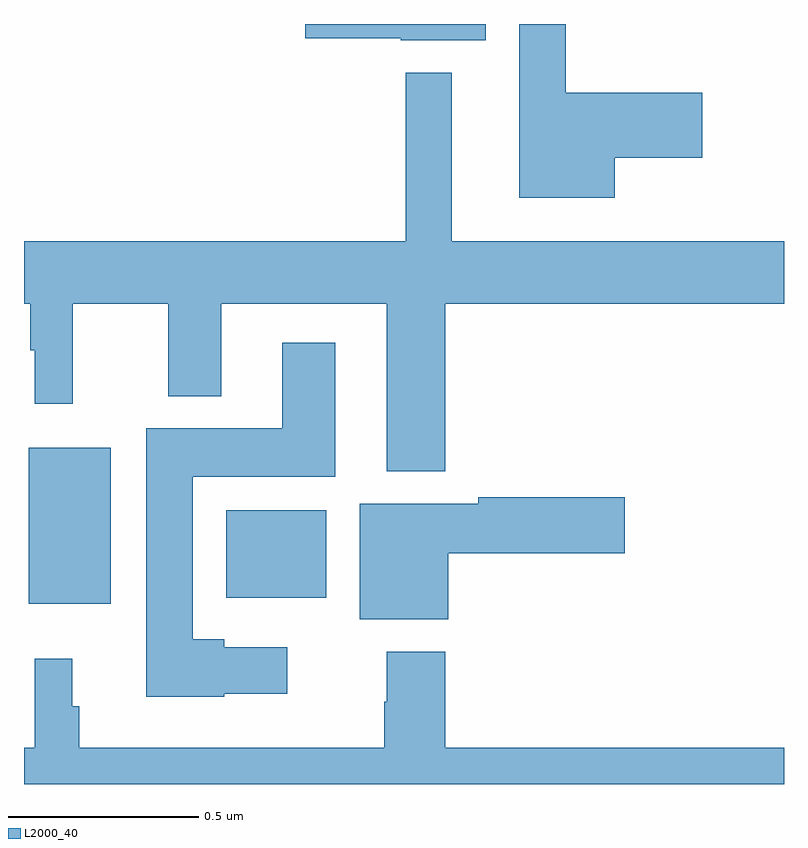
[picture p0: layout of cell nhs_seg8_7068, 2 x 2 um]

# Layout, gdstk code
import gdstk
lib = gdstk.Library(unit=1e-6, precision=1e-09)
def R(c, l, rs):  # rectangles x0, y0, x1, y1
    for r in rs: c.add(gdstk.rectangle(r[:2], r[2:], *l))
def P(c, l, *ps):  # polygons
    for p in ps: c.add(gdstk.Polygon(p, *l))
L2000_40 = (2000, 40)

nhs_seg8_7068 = lib.new_cell('nhs_seg8_7068')
R(nhs_seg8_7068, L2000_40, [(205.013,1118.375,205.228,1118.785), (205.532,1118.39,205.795,1118.62)])
P(nhs_seg8_7068, L2000_40, [(206.215,1119.9),(205.74,1119.9),(205.74,1119.863),(205.992,1119.863),(205.992,1119.857),(206.215,1119.857)],
  [(206.554,1119.548),(206.785,1119.548),(206.785,1119.719),(206.425,1119.719),(206.425,1119.9),(206.303,1119.9),(206.303,1119.443),(206.554,1119.443)],
  [(206.108,1119.164),(207,1119.164),(207,1119.328),(206.125,1119.328),(206.125,1119.772),(206.004,1119.772),(206.004,1119.328),(205,1119.328),(205,1119.164),(205.017,1119.164),(205.017,1119.041),(205.028,1119.041),(205.028,1118.901),(205.128,1118.901),(205.128,1119.164),(205.379,1119.164),(205.379,1118.921),(205.519,1118.921),(205.519,1119.164),(205.955,1119.164),(205.955,1118.723),(206.108,1118.723)],
  [(205.527,1118.138),(205.693,1118.138),(205.693,1118.26),(205.527,1118.26),(205.527,1118.281),(205.444,1118.281),(205.444,1118.708),(205.819,1118.708),(205.819,1119.061),(205.679,1119.061),(205.679,1118.836),(205.322,1118.836),(205.322,1118.129),(205.527,1118.129)],
  [(206.116,1118.507),(206.581,1118.507),(206.581,1118.654),(206.196,1118.654),(206.196,1118.638),(205.883,1118.638),(205.883,1118.333),(206.116,1118.333)],
  [(207,1117.996),(206.108,1117.996),(206.108,1118.248),(205.955,1118.248),(205.955,1118.117),(205.948,1118.117),(205.948,1117.996),(205.145,1117.996),(205.145,1118.105),(205.127,1118.105),(205.127,1118.23),(205.028,1118.23),(205.028,1117.996),(205,1117.996),(205,1117.9),(207,1117.9)])

lib.write_gds('nhs_seg8_7068.gds')
